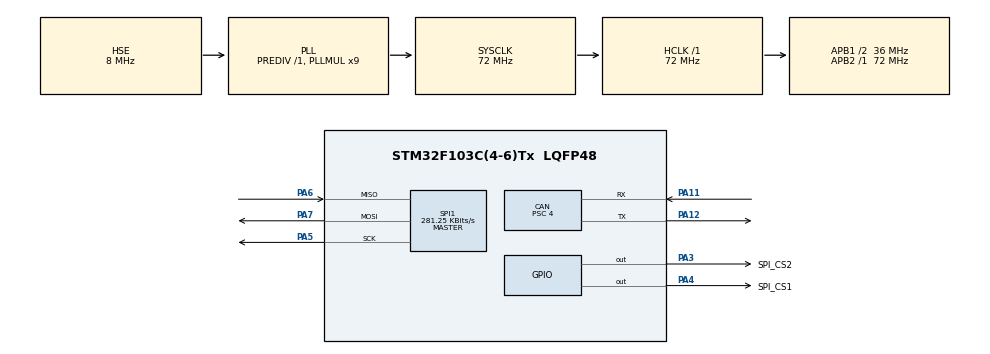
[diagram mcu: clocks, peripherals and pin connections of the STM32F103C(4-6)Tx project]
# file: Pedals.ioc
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CAN.BS1=CAN_BS1_15TQ
CAN.BS2=CAN_BS2_2TQ
CAN.CalculateBaudRate=500000
CAN.CalculateTimeBit=2000
CAN.CalculateTimeQuantum=111.11111111111111
CAN.Prescaler=4
Mcu.Family=STM32F1
Mcu.Name=STM32F103C(4-6)Tx
Mcu.Package=LQFP48
Mcu.UserConstants=tiempoCiclo,200
NVIC.PriorityGroup=NVIC_PRIORITYGROUP_4
NVIC.TIM2_IRQn=true\:0\:0\:false\:false\:true\:true\:true\:true
PA11.Mode=CAN_Activate
PA11.Signal=CAN_RX
PA12.Mode=CAN_Activate
PA12.Signal=CAN_TX
PA13.Mode=Serial_Wire
PA13.Signal=SYS_JTMS-SWDIO
PA14.Mode=Serial_Wire
PA14.Signal=SYS_JTCK-SWCLK
PA3.GPIO_Label=SPI_CS2
PA3.Signal=GPIO_Output
PA4.GPIO_Label=SPI_CS1
PA4.GPIO_PuPd=GPIO_NOPULL
PA4.PinState=GPIO_PIN_RESET
PA4.Signal=GPIO_Output
PA5.Mode=Full_Duplex_Master
PA5.Signal=SPI1_SCK
PA6.Mode=Full_Duplex_Master
PA6.Signal=SPI1_MISO
PA7.Mode=Full_Duplex_Master
PA7.Signal=SPI1_MOSI
PD0-OSC_IN.Mode=HSE-External-Oscillator
PD0-OSC_IN.Signal=RCC_OSC_IN
PD1-OSC_OUT.Mode=HSE-External-Oscillator
PD1-OSC_OUT.Signal=RCC_OSC_OUT
ProjectManager.HeapSize=0x200
ProjectManager.StackSize=0x400
ProjectManager.TargetToolchain=CMake
RCC.ADCPresc=RCC_ADCPCLK2_DIV6
RCC.AHBFreq_Value=72000000
RCC.APB1CLKDivider=RCC_HCLK_DIV2
RCC.APB1Freq_Value=36000000
RCC.APB1TimFreq_Value=72000000
RCC.APB2Freq_Value=72000000
RCC.APB2TimFreq_Value=72000000
RCC.HCLKFreq_Value=72000000
RCC.PLLMUL=RCC_PLL_MUL9
RCC.PLLSourceVirtual=RCC_PLLSOURCE_HSE
RCC.SYSCLKFreq_VALUE=72000000
RCC.SYSCLKSource=RCC_SYSCLKSOURCE_PLLCLK
RCC.USBFreq_Value=72000000
SPI1.BaudRatePrescaler=SPI_BAUDRATEPRESCALER_256
SPI1.CalculateBaudRate=281.25 KBits/s
SPI1.Direction=SPI_DIRECTION_2LINES
SPI1.Mode=SPI_MODE_MASTER
SPI1.VirtualType=VM_MASTER
TIM2.AutoReloadPreload=TIM_AUTORELOAD_PRELOAD_ENABLE
TIM2.Period=tiempoCiclo-1
TIM2.Prescaler=8000-1
VP_TIM2_VS_ClockSourceINT.Mode=Internal
board=custom

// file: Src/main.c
/* USER CODE BEGIN Header */
/**
 * Pedals
 *
 * IN1 -> ACC 2
 * IN2 -> ACC 1
 * IN3 -> VOL 2
 * IN4 -> VOL 1
 * IN5 -> BRK 2
 * IN6 -> BRK 1
 *
  ******************************************************************************
  * @file           : main.c
  * @brief          : Main program body
  ******************************************************************************
  * @attention
  *
  * <h2><center>&copy; Copyright (c) 2020 STMicroelectronics.
  * All rights reserved.</center></h2>
  *
  * This software component is licensed by ST under BSD 3-Clause license,
  * the "License"; You may not use this file except in compliance with the
  * License. You may obtain a copy of the License at:
  *                        opensource.org/licenses/BSD-3-Clause
  *
  ******************************************************************************
  */
/* USER CODE END Header */
#include "main.h"

/* USER CODE BEGIN Includes */

#include "stdio.h"
#include "stdlib.h"
#include "string.h"

//#include "miPrueba.h"
/* USER CODE END Includes */

/* USER CODE BEGIN PTD */
typedef struct misDatosPedales{
	uint8_t	acelerador;
	uint8_t	freno;
	uint8_t direccion;
}misDatosPedales;
/* USER CODE END PTD */

/* USER CODE BEGIN PD */
#define SPI_Timeout 10
#define ID_msgPedals 0x0C
#define CAN_length	3
#define VCC	4.7
#define Vmax1	3500
#define Vmin1	700
#define Vmax2	4100
#define Vmin2	1600

#define	vPres0	550
#define	vPres1	4600
#define iPres0	0
#define	iPres1	160
/* USER CODE END PD */

CAN_HandleTypeDef hcan;

SPI_HandleTypeDef hspi1;

TIM_HandleTypeDef htim2;

/* USER CODE BEGIN PV */
volatile uint8_t miTimer;

volatile uint16_t vACC_1, vACC_2, vVOL_1, vVOL_2, vBRK_1, vBRK_2;
volatile uint8_t pBRK_1, pBRK_2, pACC_1, pACC_2, pVOL_1, pVOL_2;
volatile uint8_t reparto;
volatile uint8_t acelerador, freno;
/* USER CODE END PV */

void SystemClock_Config(void);
static void MX_GPIO_Init(void);
static void MX_CAN_Init(void);
static void MX_SPI1_Init(void);
static void MX_TIM2_Init(void);
/* USER CODE BEGIN PFP */
uint8_t mapValores(uint16_t entrada, uint16_t v0, uint16_t v1, uint16_t y0, uint16_t y1);
uint8_t checkRedundancy(uint8_t in_1, uint8_t in_2);
uint16_t miVoltaje(uint8_t* datos);
uint8_t porcentaje(uint8_t in1, uint8_t in2);
/* USER CODE END PFP */

/* USER CODE BEGIN 0 */
CAN_TxHeaderTypeDef TxCAN_Pedals;
uint8_t BufferTxCAN_Pedals[CAN_length];
uint32_t txMailBox;

CAN_RxHeaderTypeDef RxCAN;
CAN_FilterTypeDef sFilterConfig;
uint8_t BufferRxCAN[8];

/* USER CODE END 0 */

int main(void)
{

  /* MCU Configuration--------------------------------------------------------*/

  /* Reset of all peripherals, Initializes the Flash interface and the Systick. */
  HAL_Init();

  /* Configure the system clock */
  SystemClock_Config();

  /* Initialize all configured peripherals */
  MX_GPIO_Init();
  MX_CAN_Init();
  MX_SPI1_Init();
  MX_TIM2_Init();
  /* USER CODE BEGIN 2 */

  //Configurar filtro TX CAN
  TxCAN_Pedals.IDE	= CAN_ID_STD;//11 bits for ID
  TxCAN_Pedals.RTR	= CAN_RTR_DATA; //Data frame
  TxCAN_Pedals.StdId= ID_msgPedals; //Msg ID
  TxCAN_Pedals.DLC	= CAN_length; //Number of bytes to TX
  TxCAN_Pedals.TransmitGlobalTime = DISABLE;

  //Configurar filtro RX ToDo
  sFilterConfig.FilterMode = CAN_FILTERMODE_IDMASK;
  sFilterConfig.FilterScale= CAN_FILTERSCALE_32BIT;
  sFilterConfig.FilterIdHigh = 0<<5; //Mirar manual
  sFilterConfig.FilterIdLow = 0xFF;
  sFilterConfig.FilterMaskIdHigh = 0xFF;
  sFilterConfig.FilterMaskIdLow = 0xFF;
  sFilterConfig.FilterFIFOAssignment = CAN_RX_FIFO0; // 0 o 1
  sFilterConfig.FilterActivation = ENABLE;
  sFilterConfig.FilterBank = 0; //De 0 a 13

  HAL_CAN_ConfigFilter(&hcan,&sFilterConfig);

  HAL_GPIO_WritePin(SPI_CS1_GPIO_Port, SPI_CS1_Pin, 1);
  uint8_t spiTx[2];
  uint8_t spiRx[2];
  misDatosPedales	pasarAcan;
  uint16_t misDatos[6];

  /*
  uint16_t vACC_1, vACC_2, vVOL_1, vVOL_2, vBRK_1, vBRK_2;
  uint8_t pBRK_1, pBRK_2, pACC_1, pACC_2, pVOL_1, pVOL_2;
*/
  /* USER CODE END 2 */

  /* Infinite loop */
  /* USER CODE BEGIN WHILE */
  spiTx[1] = 0;
  miTimer = 0;
  HAL_CAN_Start(&hcan);
  HAL_TIM_Base_Start_IT(&htim2);

  while (1)
  {
	  if(miTimer){
		  //Ask for voltages
		  for(uint8_t iteracion = 0; iteracion < 6; iteracion++){
			  spiTx[0] = iteracion << 3;
			  HAL_GPIO_WritePin(SPI_CS1_GPIO_Port, SPI_CS1_Pin, 0);
			  HAL_SPI_TransmitReceive(&hspi1, spiTx, spiRx, 2, SPI_Timeout);
			  HAL_GPIO_WritePin(SPI_CS1_GPIO_Port, SPI_CS1_Pin, 1);
			  misDatos[iteracion] = miVoltaje(spiRx);
			  HAL_Delay(1);
		  }
		  HAL_GPIO_WritePin(SPI_CS1_GPIO_Port, SPI_CS1_Pin, 0);
		  HAL_SPI_TransmitReceive(&hspi1, spiTx, spiRx, 2, SPI_Timeout);
		  HAL_GPIO_WritePin(SPI_CS1_GPIO_Port, SPI_CS1_Pin, 1);
		  misDatos[0] = miVoltaje(spiRx);

		  vACC_1 = misDatos[1];
		  vACC_2 = misDatos[2];

		  //vVOL_2 = misDatos[3];
		  //vVOL_1 = misDatos[4];

		  vBRK_2 = misDatos[5];
		  vBRK_1 = misDatos[0];

		  pACC_1 = mapValores(vACC_1, Vmin1, Vmax1, 0, 100);
		  pACC_2 = mapValores(vACC_2, Vmin2, Vmax2, 0, 100);

		  pVOL_1 = mapValores(vVOL_1, 0, 5000, 0, 100);
		  pVOL_2 = mapValores(vVOL_2, 0, 5000, 0, 100);

		  pBRK_1 = mapValores(vBRK_1, vPres0, vPres1, iPres0, iPres1);
		  pBRK_2 = mapValores(vBRK_2, vPres0, vPres1, iPres0, iPres1);

		  reparto= porcentaje(pBRK_1,pBRK_2);

		  acelerador = checkRedundancy(pACC_1, pACC_2);

		  if(pBRK_1<pBRK_2){
			  freno = pBRK_1;
		  }else{
			  freno = pBRK_2;
		  }

		  pasarAcan.acelerador	=	checkRedundancy(pACC_1, pACC_2);
		  pasarAcan.freno	=	freno;
		  pasarAcan.direccion	=	checkRedundancy(pVOL_1, pVOL_2);

		  //Send CAN msg

		  memcpy(&BufferTxCAN_Pedals, &pasarAcan, CAN_length);
		  do{
		  if(HAL_CAN_GetTxMailboxesFreeLevel(&hcan)>0){
			  HAL_CAN_AddTxMessage(&hcan, &TxCAN_Pedals, BufferTxCAN_Pedals, &txMailBox);
			  miTimer = 0;
		  }
		  }while(miTimer);

	  }else{
		  //do nothing
	  }

    /* USER CODE END WHILE */

  }
}

void SystemClock_Config(void)
{
  RCC_OscInitTypeDef RCC_OscInitStruct = {0};
  RCC_ClkInitTypeDef RCC_ClkInitStruct = {0};

  /** Initializes the RCC Oscillators according to the specified parameters
  * in the RCC_OscInitTypeDef structure.
  */
  RCC_OscInitStruct.OscillatorType = RCC_OSCILLATORTYPE_HSE;
  RCC_OscInitStruct.HSEState = RCC_HSE_ON;
  RCC_OscInitStruct.HSEPredivValue = RCC_HSE_PREDIV_DIV1;
  RCC_OscInitStruct.HSIState = RCC_HSI_ON;
  RCC_OscInitStruct.PLL.PLLState = RCC_PLL_ON;
  RCC_OscInitStruct.PLL.PLLSource = RCC_PLLSOURCE_HSE;
  RCC_OscInitStruct.PLL.PLLMUL = RCC_PLL_MUL9;
  if (HAL_RCC_OscConfig(&RCC_OscInitStruct) != HAL_OK)
  {
    Error_Handler();
  }
  /** Initializes the CPU, AHB and APB buses clocks
  */
  RCC_ClkInitStruct.ClockType = RCC_CLOCKTYPE_HCLK|RCC_CLOCKTYPE_SYSCLK
                              |RCC_CLOCKTYPE_PCLK1|RCC_CLOCKTYPE_PCLK2;
  RCC_ClkInitStruct.SYSCLKSource = RCC_SYSCLKSOURCE_PLLCLK;
  RCC_ClkInitStruct.AHBCLKDivider = RCC_SYSCLK_DIV1;
  RCC_ClkInitStruct.APB1CLKDivider = RCC_HCLK_DIV2;
  RCC_ClkInitStruct.APB2CLKDivider = RCC_HCLK_DIV1;

  if (HAL_RCC_ClockConfig(&RCC_ClkInitStruct, FLASH_LATENCY_2) != HAL_OK)
  {
    Error_Handler();
  }
}

static void MX_CAN_Init(void)
{

  hcan.Instance = CAN1;
  hcan.Init.Prescaler = 4;
  hcan.Init.Mode = CAN_MODE_NORMAL;
  hcan.Init.SyncJumpWidth = CAN_SJW_1TQ;
  hcan.Init.TimeSeg1 = CAN_BS1_15TQ;
  hcan.Init.TimeSeg2 = CAN_BS2_2TQ;
  hcan.Init.TimeTriggeredMode = DISABLE;
  hcan.Init.AutoBusOff = DISABLE;
  hcan.Init.AutoWakeUp = DISABLE;
  hcan.Init.AutoRetransmission = DISABLE;
  hcan.Init.ReceiveFifoLocked = DISABLE;
  hcan.Init.TransmitFifoPriority = DISABLE;
  if (HAL_CAN_Init(&hcan) != HAL_OK)
  {
    Error_Handler();
  }

}

static void MX_SPI1_Init(void)
{

  /* SPI1 parameter configuration*/
  hspi1.Instance = SPI1;
  hspi1.Init.Mode = SPI_MODE_MASTER;
  hspi1.Init.Direction = SPI_DIRECTION_2LINES;
  hspi1.Init.DataSize = SPI_DATASIZE_8BIT;
  hspi1.Init.CLKPolarity = SPI_POLARITY_LOW;
  hspi1.Init.CLKPhase = SPI_PHASE_1EDGE;
  hspi1.Init.NSS = SPI_NSS_SOFT;
  hspi1.Init.BaudRatePrescaler = SPI_BAUDRATEPRESCALER_256;
  hspi1.Init.FirstBit = SPI_FIRSTBIT_MSB;
  hspi1.Init.TIMode = SPI_TIMODE_DISABLE;
  hspi1.Init.CRCCalculation = SPI_CRCCALCULATION_DISABLE;
  hspi1.Init.CRCPolynomial = 10;
  if (HAL_SPI_Init(&hspi1) != HAL_OK)
  {
    Error_Handler();
  }

}

static void MX_TIM2_Init(void)
{

  TIM_ClockConfigTypeDef sClockSourceConfig = {0};
  TIM_MasterConfigTypeDef sMasterConfig = {0};

  htim2.Instance = TIM2;
  htim2.Init.Prescaler = 8000-1;
  htim2.Init.CounterMode = TIM_COUNTERMODE_UP;
  htim2.Init.Period = tiempoCiclo-1;
  htim2.Init.ClockDivision = TIM_CLOCKDIVISION_DIV1;
  htim2.Init.AutoReloadPreload = TIM_AUTORELOAD_PRELOAD_ENABLE;
  if (HAL_TIM_Base_Init(&htim2) != HAL_OK)
  {
    Error_Handler();
  }
  sClockSourceConfig.ClockSource = TIM_CLOCKSOURCE_INTERNAL;
  if (HAL_TIM_ConfigClockSource(&htim2, &sClockSourceConfig) != HAL_OK)
  {
    Error_Handler();
  }
  sMasterConfig.MasterOutputTrigger = TIM_TRGO_RESET;
  sMasterConfig.MasterSlaveMode = TIM_MASTERSLAVEMODE_DISABLE;
  if (HAL_TIMEx_MasterConfigSynchronization(&htim2, &sMasterConfig) != HAL_OK)
  {
    Error_Handler();
  }

}

static void MX_GPIO_Init(void)
{
  GPIO_InitTypeDef GPIO_InitStruct = {0};

  /* GPIO Ports Clock Enable */
  __HAL_RCC_GPIOD_CLK_ENABLE();
  __HAL_RCC_GPIOA_CLK_ENABLE();

  /*Configure GPIO pin Output Level */
  HAL_GPIO_WritePin(GPIOA, SPI_CS2_Pin|SPI_CS1_Pin, GPIO_PIN_RESET);

  /*Configure GPIO pins : SPI_CS2_Pin SPI_CS1_Pin */
  GPIO_InitStruct.Pin = SPI_CS2_Pin|SPI_CS1_Pin;
  GPIO_InitStruct.Mode = GPIO_MODE_OUTPUT_PP;
  GPIO_InitStruct.Pull = GPIO_NOPULL;
  GPIO_InitStruct.Speed = GPIO_SPEED_FREQ_LOW;
  HAL_GPIO_Init(GPIOA, &GPIO_InitStruct);

}

/* USER CODE BEGIN 4 */
uint8_t mapValores(uint16_t entrada, uint16_t v0, uint16_t v1, uint16_t y0, uint16_t y1){
	float malda = ((float)y1 - (float)y0) / ((float)v1 - (float)v0);
	float salida = y0 + malda * (entrada - v0);
	if(salida < y0){
		salida = y0;
	}else if(salida>y1){
		salida = y1;
	}
	return (uint8_t) salida;
}

uint8_t checkRedundancy(uint8_t in_1, uint8_t in_2){
	uint8_t A, B;

	if(in_1 > in_2){
		A = in_1;
		B = in_2;
	}else{
		A = in_2;
		B = in_1;
	}

	if(B < (float)A * 0.7){
		B = 0;
	}

	return B;
}

uint16_t miVoltaje(uint8_t* datos){
	uint8_t arApoyo[2];
	uint16_t mi_16t;
	float f_calculo = 0;

	arApoyo[0] = datos[1];
	arApoyo[1] = datos[0];
	memcpy(&mi_16t, &arApoyo, 2);

	f_calculo = mi_16t * VCC *1000;
	f_calculo = f_calculo / 4096;
	mi_16t = (uint16_t) f_calculo;

	return mi_16t;
}

uint8_t porcentaje(uint8_t in1, uint8_t in2){
	uint16_t suma = in1+in2;
	float fFin = (float)in1/(float)suma;
	fFin=fFin*100;
	return (uint8_t)fFin;
}
/* USER CODE END 4 */

void Error_Handler(void)
{
}

/************************ (C) COPYRIGHT STMicroelectronics *****END OF FILE****/
